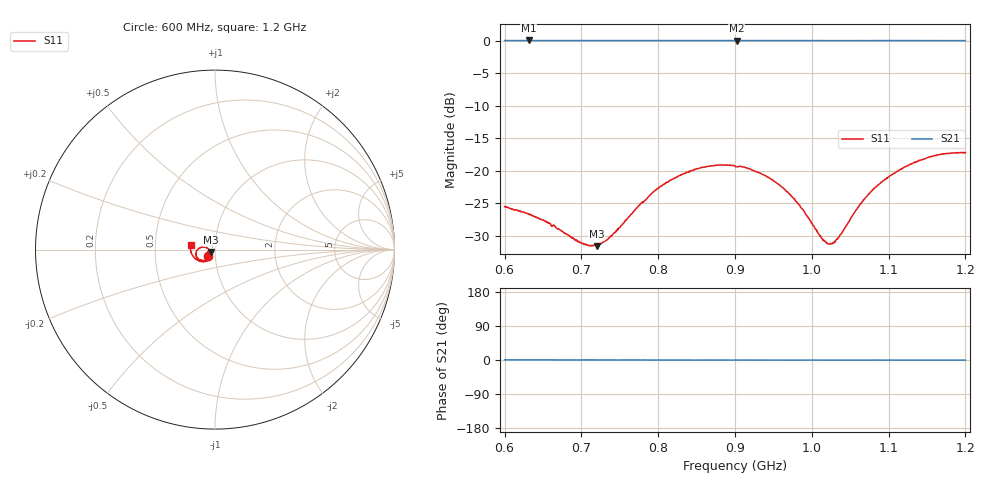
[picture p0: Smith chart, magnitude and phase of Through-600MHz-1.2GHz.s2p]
# HZ S RI R 50
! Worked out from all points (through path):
!   1010 points, 600 MHz to 1.2 GHz, reference 50 ohm
!   highest |S21| = 0.02 dB at 631.5 MHz (marker M1); lowest = 0.0 dB at 902.1 MHz (marker M2)
!   lowest |S11| = -31.6 dB at 720.1 MHz (marker M3), VSWR 1.05, Z = 47.8 - j1.37 ohm
!   |S11| at or under -10 dB: start of sweep to end of sweep
!   S12 and S22 are empty: the file has one direction only
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6e8  -0.0409 -0.0336  1.001 0.0061  0 0  0 0
6.315163e8  -0.0421 -0.0189  1.002 0.00675  0 0  0 0
7.004955e8  -0.0263 -0.0087  1 0.00454  0 0  0 0
7.201189e8  -0.022 -0.0143  0.9998 -0.000296  0 0  0 0
7.373637e8  -0.0212 -0.0224  0.9996 0.000596  0 0  0 0
7.766105e8  -0.0328 -0.0445  0.9992 0.0024  0 0  0 0
8.003964e8  -0.0468 -0.0572  1.001 -0.00238  0 0  0 0
8.283448e8  -0.0691 -0.061  1 -0.00352  0 0  0 0
8.5332e8  -0.0884 -0.055  0.9992 -0.00201  0 0  0 0
9.002972e8  -0.1042 -0.0246  0.9998 -0.00328  0 0  0 0
9.020812e8  -0.1043 -0.0229  0.9978 -0.0026  0 0  0 0
9.318136e8  -0.096 0.000391  1 -0.00316  0 0  0 0
9.567888e8  -0.0773 0.0119  1 -0.00316  0 0  0 0
9.799801e8  -0.0565 0.0131  1 -0.0045  0 0  0 0
1.000198e9  -0.0389 0.00579  0.9997 -0.00386  0 0  0 0
1.017443e9  -0.0276 -0.00644  1 -0.00698  0 0  0 0
1.028147e9  -0.0231 -0.0155  0.9994 -0.00439  0 0  0 0
1.036472e9  -0.0218 -0.0228  0.999 -0.00638  0 0  0 0
1.067988e9  -0.0306 -0.0512  0.9989 -0.00513  0 0  0 0
1.100099e9  -0.0592 -0.0669  1 -0.00629  0 0  0 0
1.153023e9  -0.1218 -0.0373  0.9991 -0.00601  0 0  0 0
1.2e9  -0.1347 0.028  0.9987 -0.00504  0 0  0 0
